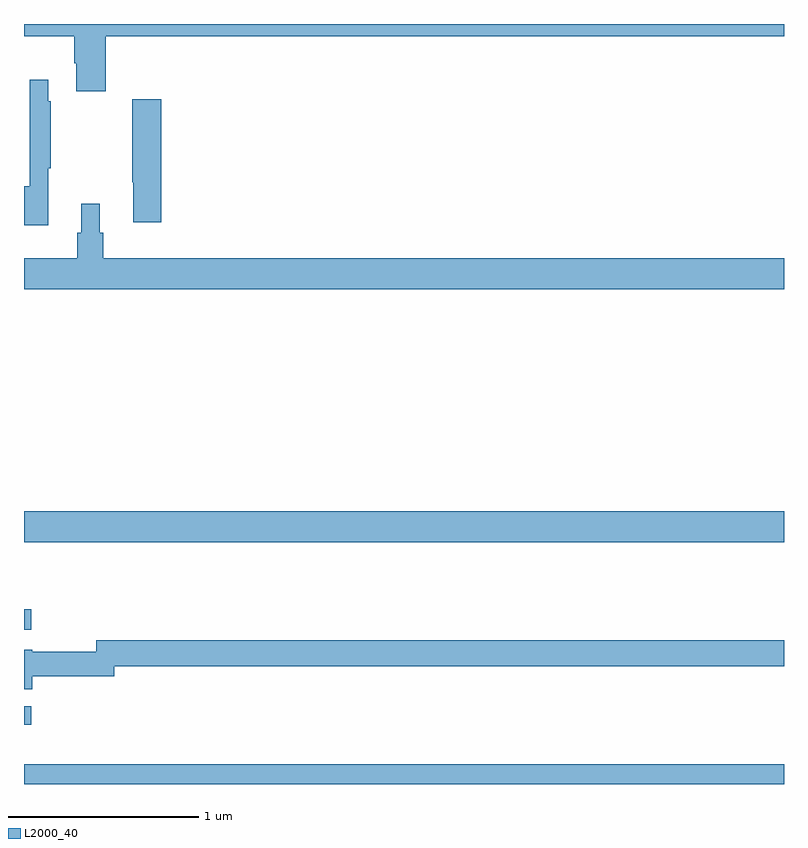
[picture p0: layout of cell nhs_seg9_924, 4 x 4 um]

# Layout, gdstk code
import gdstk
lib = gdstk.Library(unit=1e-6, precision=1e-09)
def R(c, l, rs):  # rectangles x0, y0, x1, y1
    for r in rs: c.add(gdstk.rectangle(r[:2], r[2:], *l))
def P(c, l, *ps):  # polygons
    for p in ps: c.add(gdstk.Polygon(p, *l))
L2000_40 = (2000, 40)

nhs_seg9_924 = lib.new_cell('nhs_seg9_924')
R(nhs_seg9_924, L2000_40, [(161,1176.5,165,1176.604), (161,1176.813,161.038,1176.909), (161,1177.311,161.038,1177.42), (161,1177.772,165,1177.936)])
P(nhs_seg9_924, L2000_40, [(161.429,1180.436),(165,1180.436),(165,1180.5),(161,1180.5),(161,1180.436),(161.264,1180.436),(161.264,1180.294),(161.276,1180.294),(161.276,1180.146),(161.429,1180.146)],
  [(161.128,1179.742),(161.14,1179.742),(161.14,1180.094),(161.128,1180.094),(161.128,1180.207),(161.031,1180.207),(161.031,1179.646),(161,1179.646),(161,1179.44),(161.128,1179.44)],
  [(161.723,1180.105),(161.569,1180.105),(161.569,1179.668),(161.576,1179.668),(161.576,1179.456),(161.723,1179.456)],
  [(165,1179.268),(161.417,1179.268),(161.417,1179.402),(161.398,1179.402),(161.398,1179.553),(161.3,1179.553),(161.3,1179.402),(161.281,1179.402),(161.281,1179.268),(161,1179.268),(161,1179.104),(165,1179.104)],
  [(161.044,1177.068),(161.475,1177.068),(161.475,1177.12),(165,1177.12),(165,1177.256),(161.379,1177.256),(161.379,1177.196),(161.044,1177.196),(161.044,1177.207),(161,1177.207),(161,1176.998),(161.044,1176.998)])

lib.write_gds('nhs_seg9_924.gds')
